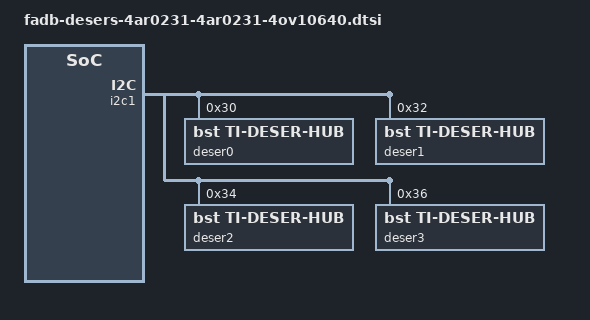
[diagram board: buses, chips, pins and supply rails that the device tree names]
&i2c1 {
    #address-cells = <1>;
    #size-cells = <0>;

    deser0: ti960@30 {
        compatible = "bst,ti-deser-hub";
        type = "ti960";
        ctl-mode = "fad-lis";
        reg = <0x30>;
        i2c-port = <0>;
        csi2-port = <1>;
        lane-speed = <1600>;
    };

    deser1: ti960@32 {
        compatible = "bst,ti-deser-hub";
        type = "ti960";
        ctl-mode = "fad-lis";
        reg = <0x32>;
        i2c-port = <0>;
        csi2-port = <1>;
        lane-speed = <1600>;
    };

    deser2: ti960@34 {
        compatible = "bst,ti-deser-hub";
        type = "ti960";
        ctl-mode = "fad-lis";
        reg = <0x34>;
        i2c-port = <0>;
        csi2-port = <1>;
        lane-speed = <1600>;
    };

    deser3: ti960@36 {
        compatible = "bst,ti-deser-hub";
        type = "ti960";
        ctl-mode = "fad-lis";
        reg = <0x36>;
        i2c-port = <0>;
        csi2-port = <1>;
        lane-speed = <1600>;
    };
};

#include "../common/a1000b-deser.dtsi"
